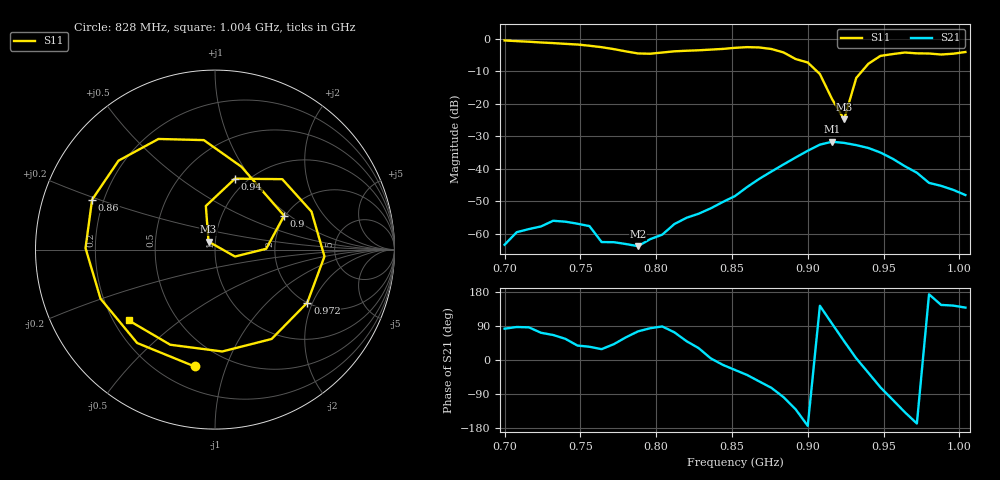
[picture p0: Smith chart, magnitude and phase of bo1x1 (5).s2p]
# Hz S RI R 50
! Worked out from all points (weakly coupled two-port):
!   39 points, 700 MHz to 1.004 GHz, reference 50 ohm
!   highest |S21| = -31.75 dB at 916 MHz (marker M1); lowest = -63.9 dB at 788 MHz (marker M2)
!   lowest |S11| = -24.9 dB at 924 MHz (marker M3), VSWR 1.12, Z = 46.3 + j4.14 ohm
!   |S11| at or under -10 dB: 906 MHz to 935.9 MHz (29.88 MHz wide, 3.25 % of centre)
!   S12 and S22 are empty: the file has one direction only
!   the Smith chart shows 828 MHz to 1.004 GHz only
!   S11 on the Smith chart (normalised r, x): 828 MHz: 0.34, -0.78; 860 MHz: 0.16, +0.19; 900 MHz: 1.97, +0.91; 940 MHz: 0.88, +0.83; 972 MHz: 2.01, -1.83; 1.004 GHz: 0.26, -0.34
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7e8  0.7499 0.5608  8.62e-05 0.000668  0 0  0 0
7.24e8  0.8401 -0.2333  0.000401 0.00122  0 0  0 0
7.4e8  0.4618 -0.6906  0.000852 0.00126  0 0  0 0
7.56e8  -0.187 -0.7534  0.00107 0.000746  0 0  0 0
7.72e8  -0.6608 -0.1959  0.00055 0.000489  0 0  0 0
7.88e8  -0.235 0.5422  0.00016 0.000619  0 0  0 0
8.04e8  0.5881 0.1637  2.4e-05 0.000962  0 0  0 0
8.2e8  0.269 -0.5923  0.00113 0.00133  0 0  0 0
8.28e8  -0.1132 -0.6512  0.00172 0.00105  0 0  0 0
8.52e8  -0.7214 0.00829  0.00339 -0.00167  0 0  0 0
8.6e8  -0.6848 0.278  0.00401 -0.00331  0 0  0 0
8.84e8  -0.0622 0.61  -0.00161 -0.0115  0 0  0 0
9e8  0.385 0.1888  -0.0187 -0.00204  0 0  0 0
9.08e8  0.2851 0.00441  -0.0187 0.0141  0 0  0 0
9.16e8  0.1114 -0.0386  -0.00272 0.0257  0 0  0 0
9.24e8  -0.036 0.0445  0.0161 0.0189  0 0  0 0
9.32e8  -0.0511 0.2429  0.0229 0.0017  0 0  0 0
9.4e8  0.1109 0.3952  0.0172 -0.0115  0 0  0 0
9.56e8  0.5374 0.212  -0.00362 -0.0137  0 0  0 0
9.72e8  0.5145 -0.2952  -0.00844 -0.00185  0 0  0 0
9.88e8  0.0407 -0.5676  -0.00446 0.00308  0 0  0 0
1.004e9  -0.4807 -0.3946  -0.00292 0.00261  0 0  0 0
